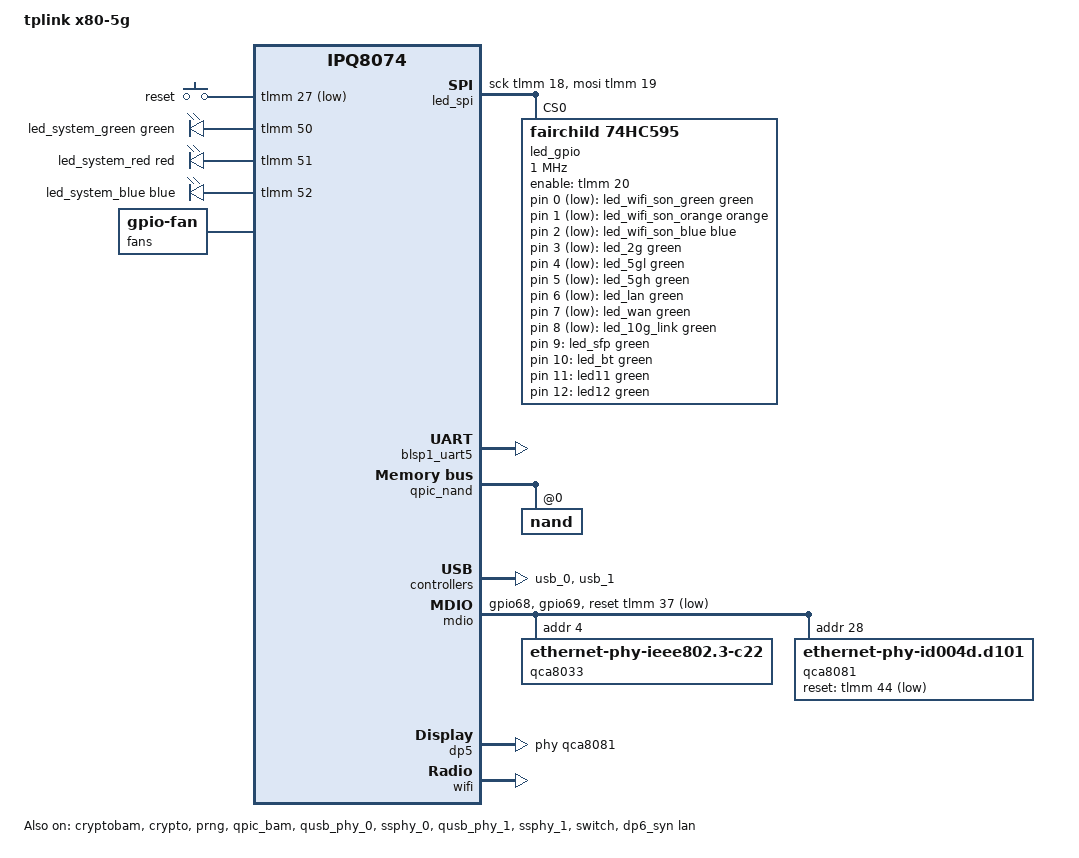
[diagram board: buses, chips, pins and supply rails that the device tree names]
// SPDX-License-Identifier: GPL-2.0-or-later OR MIT
/* Copyright (c) 2022, Robert Marko <robimarko@gmail.com> */
/* altered by Jonathan Brophy <professor_jonny@hotmail.com> */

/dts-v1/;

#include "ipq8074.dtsi"
#include "ipq8074-hk-cpu.dtsi"
#include "ipq8074-ess.dtsi"
#include <dt-bindings/gpio/gpio.h>
#include <dt-bindings/input/input.h>
#include <dt-bindings/leds/common.h>

/ {
	model = "tplink x80-5g";
	compatible = "tplink,x80-5g", "qcom,ipq8074";

	aliases {
		/*
		 * Aliases as required by u-boot
		 * to patch MAC addresses
		 */
		ethernet0 = &dp5;
		ethernet1 = &dp6_syn;
	};

	chosen {
		stdout-path = "serial0:115200n8";
		bootargs-append = " root=/dev/ubiblock0_1";
	};

	modem {
		compatible = "gpio-modem";
		pinctrl-0 = <&modem_pins>;
		pinctrl-names = "default";

		w_disable {
			label = "w_disable";
			gpios = <&tlmm 35 GPIO_ACTIVE_HIGH>;
		};

		modem-reset {
			label = "modem_reset";
			gpios = <&tlmm 29 GPIO_ACTIVE_HIGH>;
		};
	};

		antennas {
		compatible = "gpio-antenna";
		pinctrl-0 = <&antenna_pins>;
		pinctrl-names = "default";

		ext_antenna_en {
			label = "ext_antenna_en";
			gpios = <&tlmm 56 GPIO_ACTIVE_HIGH>;
		};
	};

	gpio_keys {
		compatible = "gpio-keys";
		pinctrl-0 = <&button_pins>;
		pinctrl-names = "default";

		button@1 {
			label = "reset";
			gpios = <&tlmm 27 GPIO_ACTIVE_LOW>;
			linux,code = <KEY_RESTART>;
		};
	};

	led_spi {
		compatible = "spi-gpio";
		#address-cells = <1>;
		#size-cells = <0>;

		sck-gpios = <&tlmm 18 GPIO_ACTIVE_HIGH>;
		mosi-gpios = <&tlmm 19 GPIO_ACTIVE_HIGH>;

		led_gpio: led_gpio@0 {
			compatible = "fairchild,74hc595";
			reg = <0>;
			gpio-controller;
			#gpio-cells = <2>;
			registers-number = <2>;
			enable-gpios = <&tlmm 20 GPIO_ACTIVE_HIGH>;
			spi-max-frequency = <1000000>;
		};
	};

	phy-leds {
		compatible = "gpio-leds";

		led_wifi_son_green: led0 {
			gpios = <&led_gpio 0 GPIO_ACTIVE_LOW>;
			color = <LED_COLOR_ID_GREEN>;
		};

		led_wifi_son_orange: led1 {
			gpios = <&led_gpio 1 GPIO_ACTIVE_LOW>;
			color = <LED_COLOR_ID_ORANGE>;
		};

		led_wifi_son_blue: led2 {
			gpios = <&led_gpio 2 GPIO_ACTIVE_LOW>;
			color = <LED_COLOR_ID_BLUE>;
		};

		led_2g: led3 {
			gpios = <&led_gpio 3 GPIO_ACTIVE_LOW>;
			color = <LED_COLOR_ID_GREEN>;
		};

		led_5gl: led4 {
			gpios = <&led_gpio 4 GPIO_ACTIVE_LOW>;
			color = <LED_COLOR_ID_GREEN>;
		};

		led_5gh: led5 {
			gpios = <&led_gpio 5 GPIO_ACTIVE_LOW>;
			color = <LED_COLOR_ID_GREEN>;
		};

		led_lan: led6 {
			gpios = <&led_gpio 6 GPIO_ACTIVE_LOW>;
			color = <LED_COLOR_ID_GREEN>;
		};

		led_wan: led7 {
			gpios = <&led_gpio 7 GPIO_ACTIVE_LOW>;
			color = <LED_COLOR_ID_GREEN>;
			linux,default-trigger = "none";
		};

		led_10g_link: led8 {
			gpios = <&led_gpio 8 GPIO_ACTIVE_LOW>;
			color = <LED_COLOR_ID_GREEN>;
		};

		led_sfp: led9 {
			gpios = <&led_gpio 9 GPIO_ACTIVE_HIGH>;
			color = <LED_COLOR_ID_GREEN>;
		};

		led_bt: led10 {
			gpios = <&led_gpio 10 GPIO_ACTIVE_HIGH>;
			color = <LED_COLOR_ID_GREEN>;
		};

		led11 {
			gpios = <&led_gpio 11 GPIO_ACTIVE_HIGH>;
			color = <LED_COLOR_ID_GREEN>;
		};

		led12 {
			gpios = <&led_gpio 12 GPIO_ACTIVE_HIGH>;
			color = <LED_COLOR_ID_GREEN>;
		};
	};

	leds {
		compatible = "gpio-leds";
		pinctrl-0 = <&led_pins>;
		pinctrl-names = "default";

		led_system_green: green {
			gpios = <&tlmm 50 GPIO_ACTIVE_HIGH>;
			color = <LED_COLOR_ID_GREEN>;/* pulsing  green updating firmware, solid green connected to 4G*/
			default-state = "on";
		};

		led_system_red: red {
			gpios = <&tlmm 51 GPIO_ACTIVE_HIGH>;
			color = <LED_COLOR_ID_RED>; /* pulsing  red disconnected from Wan, solid red error*/
			default-state = "on";
		};

		led_system_blue: blue {
			gpios = <&tlmm 52 GPIO_ACTIVE_HIGH>;
			color = <LED_COLOR_ID_BLUE>; /* pulsing  blue is ready for setup or wps in in progress*/
		};
	};

	fans {
		compatible = "gpio-fan";
		pinctrl-0 = <&fan_pins>;
		pinctrl-names = "default";

		fan1 {
			label = "fan1";
			gpios = <&tlmm 40 GPIO_ACTIVE_HIGH>;
		};

		fan2 {
			label = "fan2";
			gpios = <&tlmm 41 GPIO_ACTIVE_HIGH>;
		};

		fan3 {
			label = "fan3";
			gpios = <&tlmm 42 GPIO_ACTIVE_HIGH>;
		};
	};
};

&tlmm {
	button_pins: button_pins {
		pins = "gpio27";
		function = "gpio";
		drive-strength = <2>;
		bias-pull-up;
	};

	fan_pins: fan_pins {
		mux {
			pins = "gpio40", "gpio41", "gpio42";
			function = "gpio";
			drive-strength = <2>;
			bias-disable;
		};
	};

	antenna_pins: antenna_pins {
		ext_antenna_en {
			pins = "gpio56";
			function = "gpio";
			drive-strength = <2>;
			bias-disable;
		};
	};

	modem_pins: modem_pins {
		modem_reset {
			pins = "gpio29";
			function = "gpio";
			drive-strength = <2>;
			bias-disable;
		};

		w_disable {
			pins = "gpio55";
			function = "gpio";
			drive-strength = <2>;
			bias-disable;
		};
	};

	led_pins: led_pins {
		pins = "gpio50", "gpio51", "gpio52";
		function = "gpio";
		drive-strength = <8>;
		bias-disable;
	};

	mdio_pins: mdio-pins {
		mdc {
			pins = "gpio68";
			function = "mdc";
			drive-strength = <8>;
			bias-pull-up;
		};

		mdio {
			pins = "gpio69";
			function = "mdio";
			drive-strength = <8>;
			bias-pull-up;
		};
	};
};

&blsp1_uart5 {
	status = "okay";
};

&cryptobam {
	status = "okay";
};

&crypto {
	status = "okay";
};

&prng {
	status = "okay";
};

&qpic_bam {
	status = "okay";
};

&qpic_nand {
	status = "okay";

	nand@0 {
		reg = <0>;
		nand-ecc-strength = <4>;
		nand-ecc-step-size = <512>;
		nand-bus-width = <8>;

		partitions {
			compatible = "qcom,smem-part";
		};
	};
};

&qusb_phy_0 {
	status = "okay";
};

&ssphy_0 {
	status = "okay";
};

&usb_0 {
	status = "okay";
};

&qusb_phy_1 {
	status = "okay"; /* ? */
};

&ssphy_1 {
	status = "okay"; /* ? */
};

&usb_1 {
	status = "okay"; /* ? */
};

&mdio {
	status = "okay";

	pinctrl-0 = <&mdio_pins>;
	pinctrl-names = "default";
	reset-gpios = <&tlmm 37 GPIO_ACTIVE_LOW>;

	qca8033: ethernet-phy@4 {
		compatible = "ethernet-phy-ieee802.3-c22";
		reg = <0x4>;
	};

	qca8081: ethernet-phy@28 {
		compatible = "ethernet-phy-id004d.d101";
		reg = <28>;
		reset-deassert-us = <10000>;
		reset-gpios = <&tlmm 44 GPIO_ACTIVE_LOW>;

		leds {
			#address-cells = <1>;
			#size-cells = <0>;

			led@0 {
				reg = <0>;
				color = <LED_COLOR_ID_GREEN>;
				function = LED_FUNCTION_WAN;
				default-state = "keep";
			};

			led@1 {
				reg = <1>;
				color = <LED_COLOR_ID_YELLOW>;
				function = LED_FUNCTION_WAN;
				default-state = "keep";
			};
		};
	};
};


&switch {
	status = "okay";

	switch_lan_bmp = <ESS_PORT6>; /* lan port bitmap */
	switch_wan_bmp = <ESS_PORT5>; /* wan port bitmap */
	switch_mac_mode1 = <MAC_MODE_SGMII_CHANNEL0>; /* mac mode for uniphy instance1*/
	switch_mac_mode2 = <MAC_MODE_SGMII_CHANNEL0>; /* mac mode for uniphy instance2*/

	qcom,port_phyinfo {
		port@6 {
			port_id = <6>;
			phy_address = <4>;
		};
		port@5 {
			port_id = <5>;
			phy_address = <28>;
			port_mac_sel = "QGMAC_PORT";
		};
	};
};

&edma {
	status = "okay";
};

&dp5 {
	status = "okay";
	phy-handle = <&qca8081>;
	label = "wan";
};

&dp6_syn {
	status = "okay";
	phy-handle = <&qca8033>;
	label = "lan";
};

&wifi {
	status = "okay";
	qcom,ath11k-calibration-variant = "tplink_x80-5g";
};
